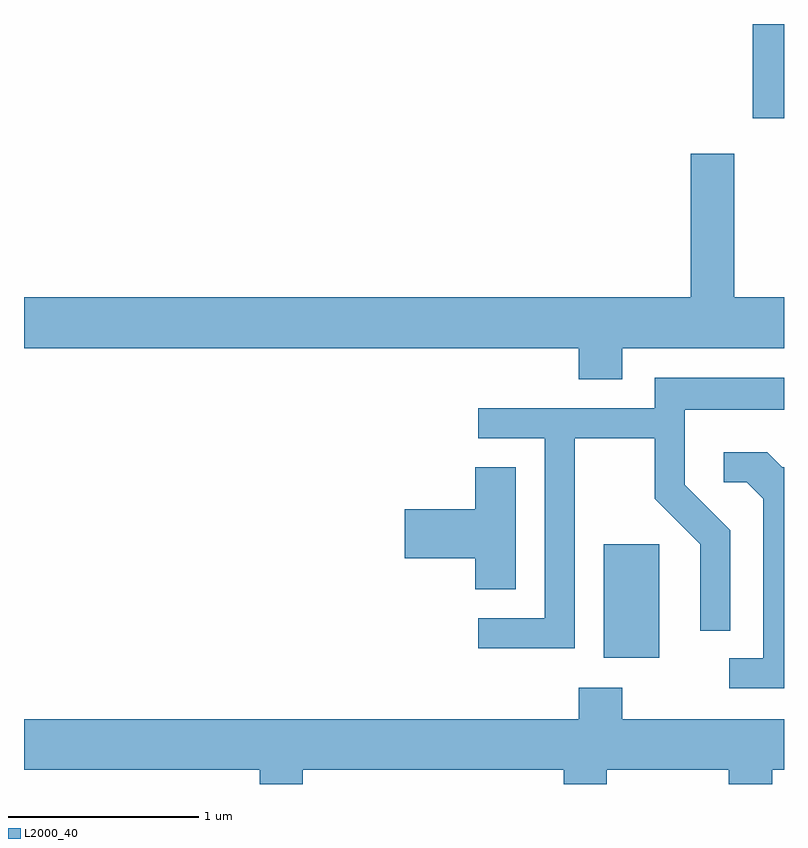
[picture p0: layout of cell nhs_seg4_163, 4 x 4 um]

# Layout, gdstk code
import gdstk
lib = gdstk.Library(unit=1e-6, precision=1e-09)
def R(c, l, rs):  # rectangles x0, y0, x1, y1
    for r in rs: c.add(gdstk.rectangle(r[:2], r[2:], *l))
def P(c, l, *ps):  # polygons
    for p in ps: c.add(gdstk.Polygon(p, *l))
L2000_40 = (2000, 40)

nhs_seg4_163 = lib.new_cell('nhs_seg4_163')
R(nhs_seg4_163, L2000_40, [(192.661,1308.646,192.954,1309.244), (193.446,1311.486,193.611,1311.982)])
P(nhs_seg4_163, L2000_40, [(192.759,1310.276),(193.611,1310.276),(193.611,1310.544),(193.349,1310.544),(193.349,1311.299),(193.121,1311.299),(193.121,1310.544),(189.611,1310.544),(189.611,1310.276),(192.531,1310.276),(192.531,1310.111),(192.759,1310.111)],
  [(192.509,1309.801),(192.931,1309.801),(192.931,1309.484),(193.171,1309.244),(193.171,1308.788),(193.329,1308.788),(193.329,1309.317),(193.089,1309.557),(193.089,1309.951),(193.611,1309.951),(193.611,1310.119),(192.931,1310.119),(192.931,1309.959),(192.003,1309.959),(192.003,1309.801),(192.351,1309.801),(192.351,1308.854),(192.003,1308.854),(192.003,1308.696),(192.509,1308.696)],
  [(193.611,1309.649),(193.602,1309.649),(193.522,1309.729),(193.293,1309.729),(193.293,1309.571),(193.414,1309.571),(193.501,1309.484),(193.501,1308.644),(193.323,1308.644),(193.323,1308.486),(193.611,1308.486)],
  [(192.199,1309.649),(191.986,1309.649),(191.986,1309.429),(191.616,1309.429),(191.616,1309.171),(191.986,1309.171),(191.986,1309.006),(192.199,1309.006)],
  [(191.079,1308.056),(192.451,1308.056),(192.451,1307.982),(192.679,1307.982),(192.679,1308.056),(193.321,1308.056),(193.321,1307.982),(193.549,1307.982),(193.549,1308.056),(193.611,1308.056),(193.611,1308.324),(192.759,1308.324),(192.759,1308.489),(192.531,1308.489),(192.531,1308.324),(189.611,1308.324),(189.611,1308.056),(190.851,1308.056),(190.851,1307.982),(191.079,1307.982)])

lib.write_gds('nhs_seg4_163.gds')
